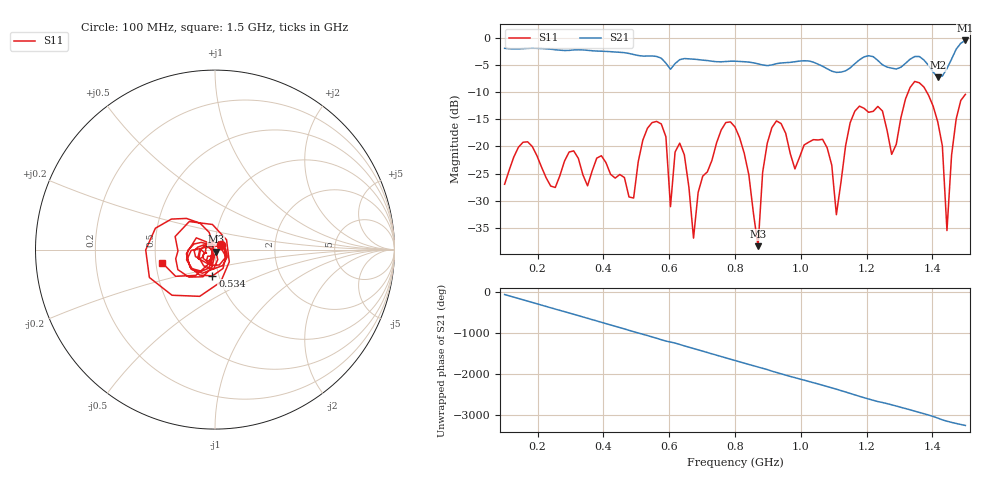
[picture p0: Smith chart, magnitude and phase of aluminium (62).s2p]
! NanoVNA-App
! Date: 2025-09-26 09:58:32
! Start: 100MHz Stop: 1,5GHz Points: 101
! S-Parameter data: F S11 S21 S12 S22
# Hz S RI R 50
!  Frequency  S11_Real  S11_Imag  S21_Real  S21_Imag  S12_Real  S12_Imag  S22_Real  S22_Imag
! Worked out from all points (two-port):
!   101 points, 100 MHz to 1.5 GHz, reference 50 ohm
!   highest |S21| = -0.46 dB at 1.5 GHz (marker M1); lowest = -7.2 dB at 1.416 GHz (marker M2)
!   |S21| within 3 dB of the highest: start of sweep to 564.2 MHz; 1.461 GHz to end of sweep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
!   lowest |S11| = -38.4 dB at 870 MHz (marker M3), VSWR 1.02, Z = 50.5 - j1.11 ohm
!   |S11| at or under -10 dB: start of sweep to 1.326 GHz; 1.383 GHz to end of sweep
!   S12 and S22 are empty: the file has one direction only
!   S11 on the Smith chart (normalised r, x): 100 MHz: 1.07, +0.06; 534 MHz: 0.93, -0.28; 1.5 GHz: 0.54, -0.09
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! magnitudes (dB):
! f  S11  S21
! 100 MHz  -27.0  -1.9
! 156 MHz  -19.2  -2.0
! 338 MHz  -25.3  -2.2
! 492 MHz  -29.5  -3.1
! 534 MHz  -16.6  -3.3
! 576 MHz  -15.9  -3.7
! 604 MHz  -31.1  -5.8
! 618 MHz  -21.0  -4.7
! 646 MHz  -21.5  -3.8
! 674 MHz  -36.9  -3.9
! 800 MHz  -16.4  -4.3
! 870 MHz  -38.4  -4.8
! 912 MHz  -16.5  -5.0
! 1.038 GHz  -18.8  -4.5
! 1.108 GHz  -32.6  -6.3
! 1.178 GHz  -12.6  -4.0
! 1.276 GHz  -21.5  -5.6
! 1.346 GHz  -8.0  -3.4
! 1.416 GHz  -15.5  -7.2
! 1.444 GHz  -35.5  -5.6
! 1.472 GHz  -14.9  -2.1
! 1.5 GHz  -10.4  -0.5
